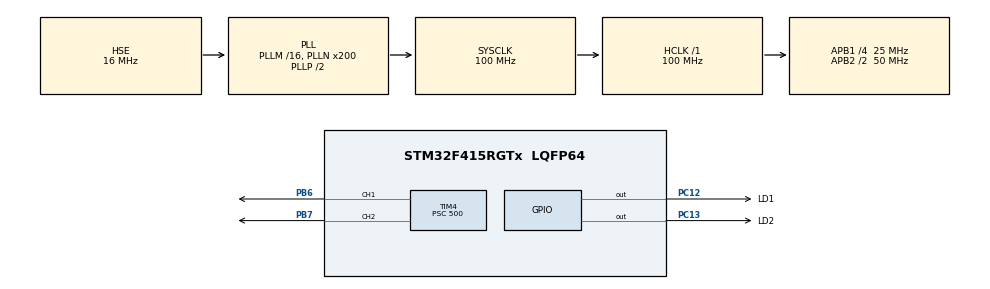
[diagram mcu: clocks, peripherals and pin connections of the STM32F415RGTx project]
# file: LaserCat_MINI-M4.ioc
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Mcu.Family=STM32F4
Mcu.Name=STM32F415RGTx
Mcu.Package=LQFP64
NVIC.PriorityGroup=NVIC_PRIORITYGROUP_4
NVIC.TIM8_UP_TIM13_IRQn=true\:0\:0\:false\:false\:true\:true\:true
PB6.Signal=S_TIM4_CH1
PB7.Signal=S_TIM4_CH2
PC12.GPIO_Label=LD1
PC12.Signal=GPIO_Output
PC13-ANTI_TAMP.GPIO_Label=LD2
PC13-ANTI_TAMP.Signal=GPIO_Output
PC14-OSC32_IN.Mode=LSE-External-Oscillator
PC14-OSC32_IN.Signal=RCC_OSC32_IN
PC15-OSC32_OUT.Mode=LSE-External-Oscillator
PC15-OSC32_OUT.Signal=RCC_OSC32_OUT
PH0-OSC_IN.Mode=HSE-External-Oscillator
PH0-OSC_IN.Signal=RCC_OSC_IN
PH1-OSC_OUT.Mode=HSE-External-Oscillator
PH1-OSC_OUT.Signal=RCC_OSC_OUT
ProjectManager.HeapSize=0x200
ProjectManager.StackSize=0x400
ProjectManager.TargetToolchain=STM32CubeIDE
RCC.48MHZClocksFreq_Value=40000000
RCC.AHBFreq_Value=100000000
RCC.APB1CLKDivider=RCC_HCLK_DIV4
RCC.APB1Freq_Value=25000000
RCC.APB1TimFreq_Value=50000000
RCC.APB2CLKDivider=RCC_HCLK_DIV2
RCC.APB2Freq_Value=50000000
RCC.APB2TimFreq_Value=100000000
RCC.CortexFreq_Value=100000000
RCC.HCLKFreq_Value=100000000
RCC.HSE_VALUE=16000000
RCC.HSI_VALUE=16000000
RCC.PLLN=200
RCC.PLLQ=5
RCC.PLLSourceVirtual=RCC_PLLSOURCE_HSE
RCC.SYSCLKFreq_VALUE=100000000
RCC.SYSCLKSource=RCC_SYSCLKSOURCE_PLLCLK
RCC.VCOOutputFreq_Value=200000000
SH.S_TIM4_CH1.0=TIM4_CH1,PWM Generation1 CH1
SH.S_TIM4_CH2.0=TIM4_CH2,PWM Generation2 CH2
TIM13.Period=1000
TIM13.Prescaler=50000-1
TIM4.Channel-PWM\ Generation1\ CH1=TIM_CHANNEL_1
TIM4.Channel-PWM\ Generation2\ CH2=TIM_CHANNEL_2
TIM4.Period=2000-1
TIM4.Prescaler=500
VP_RNG_VS_RNG.Mode=RNG_Activate
VP_TIM13_VS_ClockSourceINT.Mode=Enable_Timer
board=custom

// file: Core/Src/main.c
/* USER CODE BEGIN Header */
/**
  ******************************************************************************
  * @file           : main.c
  * @brief          : Main program body
  ******************************************************************************
  * @attention
  *
  * Copyright (c) 2022 STMicroelectronics.
  * All rights reserved.
  *
  * This software is licensed under terms that can be found in the LICENSE file
  * in the root directory of this software component.
  * If no LICENSE file comes with this software, it is provided AS-IS.
  *
  ******************************************************************************
  */
/* USER CODE END Header */
#include "main.h"

RNG_HandleTypeDef hrng;

TIM_HandleTypeDef htim4;
TIM_HandleTypeDef htim13;

/* USER CODE BEGIN PV */
const uint16_t MAX_PWM_VALUE = 250;
const uint16_t MIN_PWM_VALUE = 40;
const uint16_t MAX_X = 170;
const uint16_t MIN_X = 70;
const uint16_t MAX_Y = 210;
const uint16_t MIN_Y = 130;
const uint16_t MAX_TIME = 1500;

volatile uint8_t time_CH1 = 1;
volatile uint32_t global_random = 0;
/* USER CODE END PV */

void SystemClock_Config(void);
static void MX_GPIO_Init(void);
static void MX_TIM4_Init(void);
static void MX_RNG_Init(void);
static void MX_TIM13_Init(void);
/* USER CODE BEGIN PFP */
void User_PWMsetPulse_CH1(uint16_t value);
void User_PWMsetPulse_CH2(uint16_t value);
uint16_t Get_CorrectPWM_X(uint32_t random_number);
uint16_t Get_CorrectPWM_Y(uint32_t random_number);
void HAL_TIM_PeriodElapsedCallback(TIM_HandleTypeDef *htim);

/* USER CODE END PFP */

int main(void)
{
  /* USER CODE BEGIN 1 */
	uint16_t pwm_value = 40;

	int16_t temp = 0;
  /* USER CODE END 1 */

  /* MCU Configuration--------------------------------------------------------*/

  /* Reset of all peripherals, Initializes the Flash interface and the Systick. */
  HAL_Init();

  /* Configure the system clock */
  SystemClock_Config();

  /* Initialize all configured peripherals */
  MX_GPIO_Init();
  MX_TIM4_Init();
  MX_RNG_Init();
  MX_TIM13_Init();
  /* USER CODE BEGIN 2 */
  HAL_TIM_Base_Start_IT(&htim13);
  /* USER CODE END 2 */

  /* Infinite loop */
  while (1)
  {

    /* USER CODE BEGIN 3 */
	  HAL_GPIO_TogglePin (GPIOC, GPIO_PIN_12);
	  //HAL_RNG_GenerateRandomNumber(&hrng, &global_random);
	  //pwm_value = ( global_random % (MAX_PWM_VALUE - MIN_PWM_VALUE) ) + MIN_PWM_VALUE;
	  HAL_Delay(100);
	  //User_PWMsetPulse_CH1(pwm_value);

	  //temp = (-1) * pwm_value + MAX_PWM_VALUE + MIN_PWM_VALUE;
	  //User_PWMsetPulse_CH2(temp);

  }
  /* USER CODE END 3 */
}

void SystemClock_Config(void)
{
  RCC_OscInitTypeDef RCC_OscInitStruct = {0};
  RCC_ClkInitTypeDef RCC_ClkInitStruct = {0};

  /** Configure the main internal regulator output voltage
  */
  __HAL_RCC_PWR_CLK_ENABLE();
  __HAL_PWR_VOLTAGESCALING_CONFIG(PWR_REGULATOR_VOLTAGE_SCALE1);
  /** Initializes the RCC Oscillators according to the specified parameters
  * in the RCC_OscInitTypeDef structure.
  */
  RCC_OscInitStruct.OscillatorType = RCC_OSCILLATORTYPE_HSE;
  RCC_OscInitStruct.HSEState = RCC_HSE_ON;
  RCC_OscInitStruct.PLL.PLLState = RCC_PLL_ON;
  RCC_OscInitStruct.PLL.PLLSource = RCC_PLLSOURCE_HSE;
  RCC_OscInitStruct.PLL.PLLM = 16;
  RCC_OscInitStruct.PLL.PLLN = 200;
  RCC_OscInitStruct.PLL.PLLP = RCC_PLLP_DIV2;
  RCC_OscInitStruct.PLL.PLLQ = 5;
  if (HAL_RCC_OscConfig(&RCC_OscInitStruct) != HAL_OK)
  {
    Error_Handler();
  }
  /** Initializes the CPU, AHB and APB buses clocks
  */
  RCC_ClkInitStruct.ClockType = RCC_CLOCKTYPE_HCLK|RCC_CLOCKTYPE_SYSCLK
                              |RCC_CLOCKTYPE_PCLK1|RCC_CLOCKTYPE_PCLK2;
  RCC_ClkInitStruct.SYSCLKSource = RCC_SYSCLKSOURCE_PLLCLK;
  RCC_ClkInitStruct.AHBCLKDivider = RCC_SYSCLK_DIV1;
  RCC_ClkInitStruct.APB1CLKDivider = RCC_HCLK_DIV4;
  RCC_ClkInitStruct.APB2CLKDivider = RCC_HCLK_DIV2;

  if (HAL_RCC_ClockConfig(&RCC_ClkInitStruct, FLASH_LATENCY_3) != HAL_OK)
  {
    Error_Handler();
  }
}

static void MX_RNG_Init(void)
{

  hrng.Instance = RNG;
  if (HAL_RNG_Init(&hrng) != HAL_OK)
  {
    Error_Handler();
  }

}

static void MX_TIM4_Init(void)
{

  TIM_MasterConfigTypeDef sMasterConfig = {0};
  TIM_OC_InitTypeDef sConfigOC = {0};

  htim4.Instance = TIM4;
  htim4.Init.Prescaler = 500;
  htim4.Init.CounterMode = TIM_COUNTERMODE_UP;
  htim4.Init.Period = 2000-1;
  htim4.Init.ClockDivision = TIM_CLOCKDIVISION_DIV1;
  htim4.Init.AutoReloadPreload = TIM_AUTORELOAD_PRELOAD_DISABLE;
  if (HAL_TIM_PWM_Init(&htim4) != HAL_OK)
  {
    Error_Handler();
  }
  sMasterConfig.MasterOutputTrigger = TIM_TRGO_RESET;
  sMasterConfig.MasterSlaveMode = TIM_MASTERSLAVEMODE_DISABLE;
  if (HAL_TIMEx_MasterConfigSynchronization(&htim4, &sMasterConfig) != HAL_OK)
  {
    Error_Handler();
  }
  sConfigOC.OCMode = TIM_OCMODE_PWM1;
  sConfigOC.Pulse = 0;
  sConfigOC.OCPolarity = TIM_OCPOLARITY_HIGH;
  sConfigOC.OCFastMode = TIM_OCFAST_DISABLE;
  if (HAL_TIM_PWM_ConfigChannel(&htim4, &sConfigOC, TIM_CHANNEL_1) != HAL_OK)
  {
    Error_Handler();
  }
  if (HAL_TIM_PWM_ConfigChannel(&htim4, &sConfigOC, TIM_CHANNEL_2) != HAL_OK)
  {
    Error_Handler();
  }
  HAL_TIM_MspPostInit(&htim4);

}

static void MX_TIM13_Init(void)
{

  htim13.Instance = TIM13;
  htim13.Init.Prescaler = 50000-1;
  htim13.Init.CounterMode = TIM_COUNTERMODE_UP;
  htim13.Init.Period = 1000;
  htim13.Init.ClockDivision = TIM_CLOCKDIVISION_DIV1;
  htim13.Init.AutoReloadPreload = TIM_AUTORELOAD_PRELOAD_DISABLE;
  if (HAL_TIM_Base_Init(&htim13) != HAL_OK)
  {
    Error_Handler();
  }

}

static void MX_GPIO_Init(void)
{
  GPIO_InitTypeDef GPIO_InitStruct = {0};

  /* GPIO Ports Clock Enable */
  __HAL_RCC_GPIOC_CLK_ENABLE();
  __HAL_RCC_GPIOH_CLK_ENABLE();
  __HAL_RCC_GPIOB_CLK_ENABLE();

  /*Configure GPIO pin Output Level */
  HAL_GPIO_WritePin(GPIOC, LD2_Pin|LD1_Pin, GPIO_PIN_RESET);

  /*Configure GPIO pins : LD2_Pin LD1_Pin */
  GPIO_InitStruct.Pin = LD2_Pin|LD1_Pin;
  GPIO_InitStruct.Mode = GPIO_MODE_OUTPUT_PP;
  GPIO_InitStruct.Pull = GPIO_NOPULL;
  GPIO_InitStruct.Speed = GPIO_SPEED_FREQ_LOW;
  HAL_GPIO_Init(GPIOC, &GPIO_InitStruct);

}

/* USER CODE BEGIN 4 */
void User_PWMsetPulse_CH1(uint16_t value)
{
	HAL_TIM_PWM_Stop(&htim4, TIM_CHANNEL_1); // stop generation of pwm
    TIM_OC_InitTypeDef sConfigOC;

    sConfigOC.OCMode = TIM_OCMODE_PWM1;
    sConfigOC.Pulse = value;
    sConfigOC.OCPolarity = TIM_OCPOLARITY_HIGH;
    sConfigOC.OCFastMode = TIM_OCFAST_DISABLE;
    HAL_TIM_PWM_ConfigChannel(&htim4, &sConfigOC, TIM_CHANNEL_1);

    HAL_TIM_PWM_Start(&htim4, TIM_CHANNEL_1);
}

void User_PWMsetPulse_CH2(uint16_t value)
{
	HAL_TIM_PWM_Stop(&htim4, TIM_CHANNEL_2); // stop generation of pwm
    TIM_OC_InitTypeDef sConfigOC;

    sConfigOC.OCMode = TIM_OCMODE_PWM1;
    sConfigOC.Pulse = value;
    sConfigOC.OCPolarity = TIM_OCPOLARITY_HIGH;
    sConfigOC.OCFastMode = TIM_OCFAST_DISABLE;
    HAL_TIM_PWM_ConfigChannel(&htim4, &sConfigOC, TIM_CHANNEL_2);

    HAL_TIM_PWM_Start(&htim4, TIM_CHANNEL_2);
}

uint16_t Get_CorrectPWM_X(uint32_t random_number){
	return ( random_number % (MAX_X - MIN_X) ) + MIN_X;
}

uint16_t Get_CorrectPWM_Y(uint32_t random_number){
	return ( random_number % (MAX_Y - MIN_Y) ) + MIN_Y;
}

void HAL_TIM_PeriodElapsedCallback(TIM_HandleTypeDef *htim){
	if(time_CH1) {
		time_CH1 = 0;

		HAL_TIM_Base_Stop_IT(&htim13);
		HAL_RNG_GenerateRandomNumber(&hrng, &global_random);

		User_PWMsetPulse_CH1( Get_CorrectPWM_X(global_random) );

		__HAL_TIM_SET_AUTORELOAD(&htim13, global_random % MAX_TIME);
		HAL_TIM_Base_Start_IT(&htim13);
	} else{
		time_CH1 = 1;

		HAL_TIM_Base_Stop_IT(&htim13);
		HAL_RNG_GenerateRandomNumber(&hrng, &global_random);

		User_PWMsetPulse_CH2( Get_CorrectPWM_Y(global_random) );

		__HAL_TIM_SET_AUTORELOAD(&htim13, global_random % MAX_TIME);
		HAL_TIM_Base_Start_IT(&htim13);
	}
	HAL_GPIO_TogglePin (GPIOC, GPIO_PIN_13);
}
/* USER CODE END 4 */

void Error_Handler(void)
{
  /* USER CODE BEGIN Error_Handler_Debug */
  /* User can add his own implementation to report the HAL error return state */
	//HAL_GPIO_TogglePin (GPIOC, GPIO_PIN_13);
  __disable_irq();
  while (1)
  {
  }
  /* USER CODE END Error_Handler_Debug */
}
